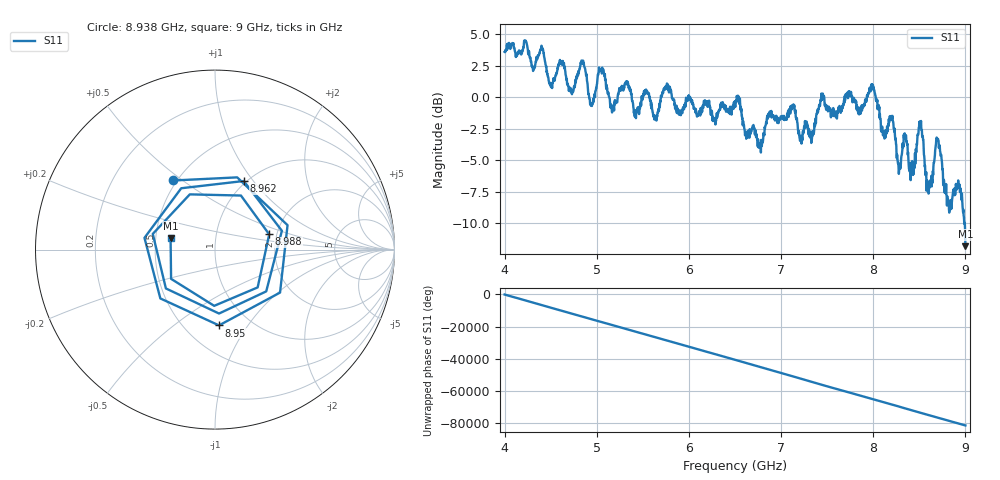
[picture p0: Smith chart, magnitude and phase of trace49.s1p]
! Created with skrf 1.8.0 (http://scikit-rf.org).
# Hz S RI R 50.0
!freq ReS11 ImS11
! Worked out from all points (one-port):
!   1601 points, 4 GHz to 9 GHz, reference 50 ohm
!   lowest |S11| = -11.8 dB at 9 GHz (marker M1), VSWR 1.69, Z = 29.9 + j4.12 ohm
!   |S11| at or under -10 dB: 8.987506 GHz to 8.98994 GHz (2.434 MHz wide, 0.0271 % of centre); 8.991944 GHz to end of sweep
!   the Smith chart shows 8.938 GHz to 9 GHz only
!   S11 on the Smith chart (normalised r, x): 8.938 GHz: 0.48, +0.46; 8.95 GHz: 0.72, -0.74; 8.962 GHz: 0.97, +0.90; 8.988 GHz: 1.82, +0.34; 9 GHz: 0.60, +0.08
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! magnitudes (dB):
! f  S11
! 4 GHz  3.6
! 4.625 GHz  2.9
! 4.722 GHz  0.7
! 4.85 GHz  2.9
! 4.941 GHz  -0.6
! 5.047 GHz  2.2
! 5.162 GHz  -0.9
! 5.25 GHz  0.5
! 5.875 GHz  -1.0
! 6.5 GHz  -0.6
! 6.772 GHz  -3.8
! 7.125 GHz  -0.9
! 7.331 GHz  -3.1
! 7.444 GHz  -0.2
! 7.75 GHz  0.4
! 7.994 GHz  0.9
! 8.278 GHz  -6.1
! 8.375 GHz  -4.6
! 8.431 GHz  -6.2
! 8.512 GHz  -2.1
! 8.603 GHz  -7.6
! 8.697 GHz  -3.4
! 8.819 GHz  -8.2
! 8.938 GHz  -7.0
! 8.95 GHz  -7.5
! 8.962 GHz  -7.7
! 8.988 GHz  -10.1
! 9 GHz  -11.8
